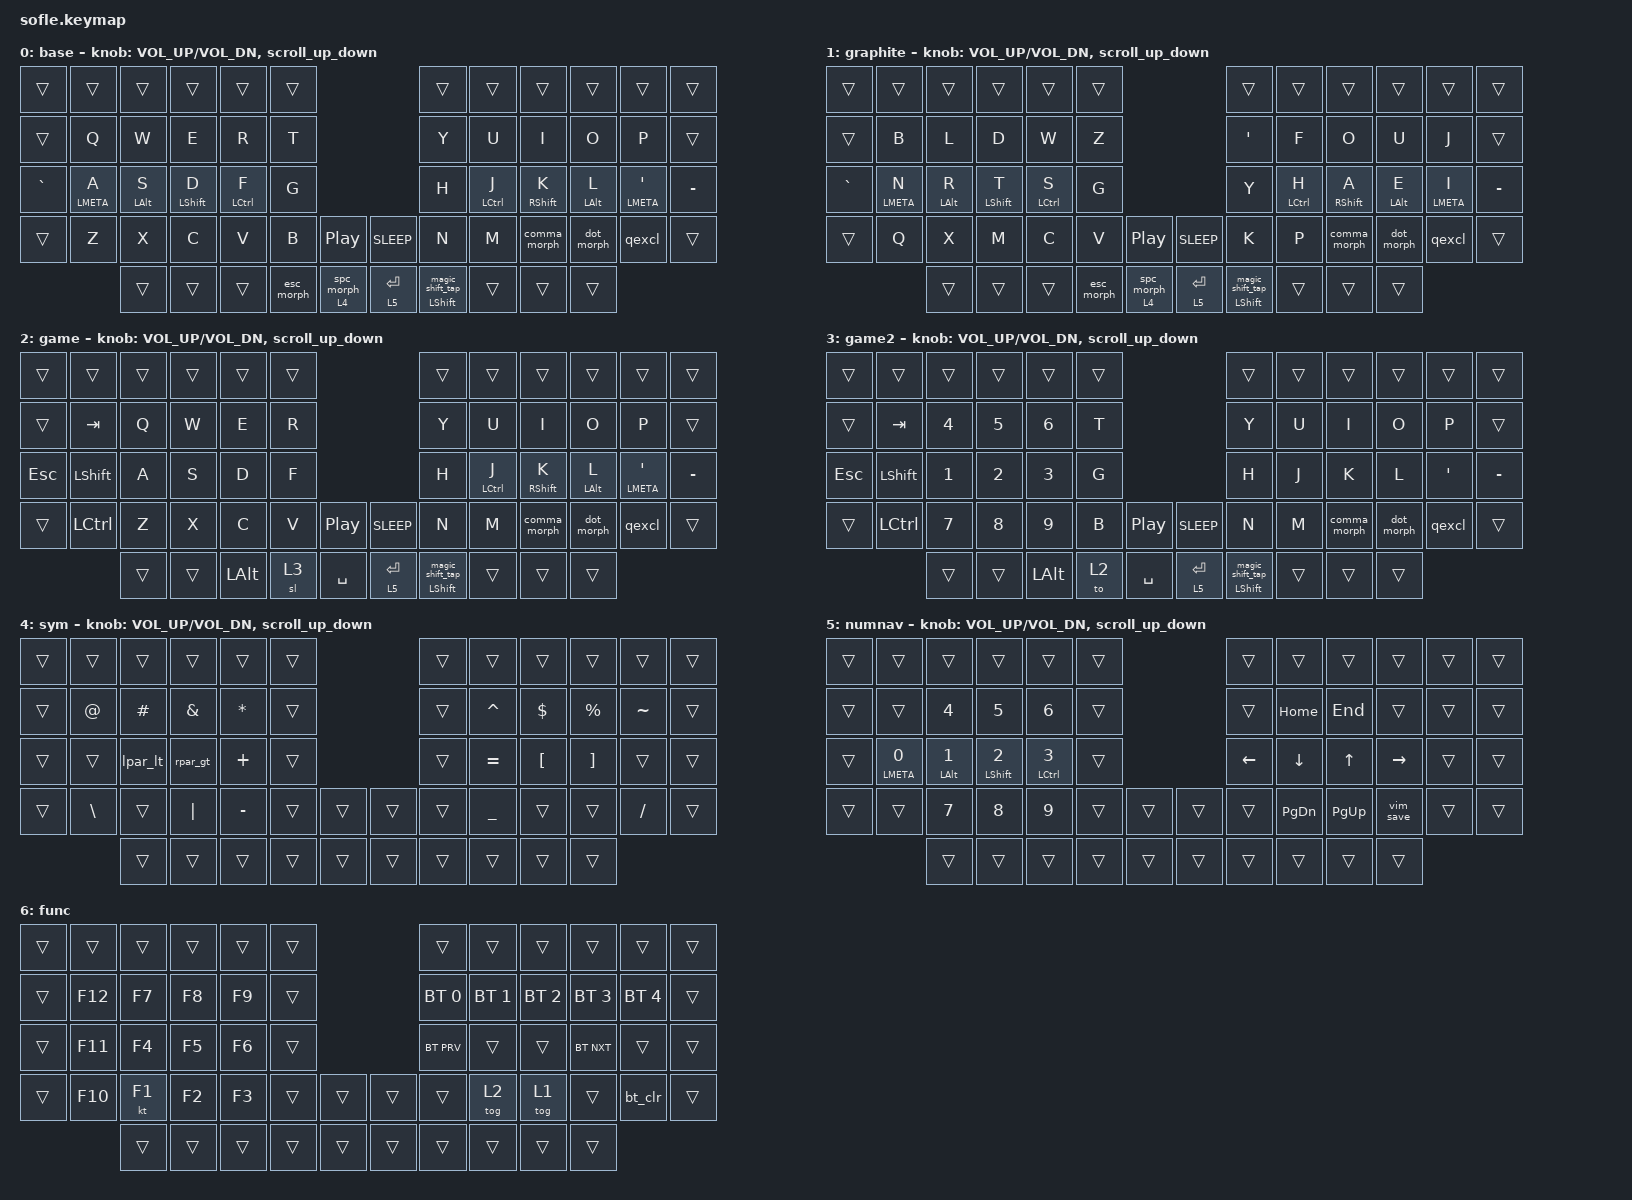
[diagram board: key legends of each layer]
// Editor: https://nickcoutsos.github.io/keymap-editor/
// Reference: https://github.com/urob/zmk-config

#define ZMK_POINTING_DEFAULT_SCRL_VAL 100

#include <behaviors.dtsi>
#include <dt-bindings/zmk/bt.h>
#include <dt-bindings/zmk/keys.h>
#include <dt-bindings/zmk/pointing.h>

/* Global defaults */

&sk {
    release-after-ms = <900>;
    quick-release;
};

&sl { ignore-modifiers; };

&lt {
    flavor = "balanced";
    tapping-term-ms = <200>;
    quick-tap-ms = <175>;
};

/* Home Row Mods */
// Hack: Make HRM combos tap-only (cf, ZMK issue #544).

#define ZMK_COMBO_8(NAME, TAP, POS, LAYERS, COMBO_MS, IDLE_MS, HOLD, SIDE)     \
  MAKE_HRM(hm_combo_##NAME, &kp, TAP, SIDE THUMBS)                             \
  ZMK_COMBO_6(NAME, &hm_combo_##NAME HOLD 0, POS, LAYERS, COMBO_MS, IDLE_MS)

/* Encoders */

&left_encoder { steps = <60>; };

&right_encoder { steps = <60>; };

&sensors { triggers-per-rotation = <30>; };

/* Keymap */

/ {
    behaviors {
        scroll_up_down: behavior_sensor_rotate_mouse_wheel_up_down {
            compatible = "zmk,behavior-sensor-rotate";
            #sensor-binding-cells = <0>;
            bindings = <&msc SCRL_UP>, <&msc SCRL_DOWN>;

            tap-ms = <20>;
        };

        /* Home Row Mods */

        hrm_l: hrm_l {
            compatible = "zmk,behavior-hold-tap";
            label = "HRM_L";
            bindings = <&kp>, <&kp>;

            #binding-cells = <2>;
            tapping-term-ms = <280>;
            quick-tap-ms = <175>;
            flavor = "balanced";
            hold-trigger-on-release;
            require-prior-idle-ms = <150>;
            hold-trigger-key-positions = <53 54 55 56 44 30 18 45 31 19 20 32 46 47 33 21 48 34 22 57 52>;
        };

        hrm_r: hrm_r {
            compatible = "zmk,behavior-hold-tap";
            label = "HRM_R";
            bindings = <&kp>, <&kp>;

            #binding-cells = <2>;
            tapping-term-ms = <280>;
            quick-tap-ms = <175>;
            flavor = "balanced";
            hold-trigger-on-release;
            require-prior-idle-ms = <150>;
            hold-trigger-key-positions = <54 53 55 56 57 41 29 17 40 28 16 39 27 15 38 26 14 37 25 13 52>;
        };

        // Tap: comma | Shift + tap: semicolon | Ctrl + shift + tap: <.

        comma_morph: comma_morph {
            compatible = "zmk,behavior-mod-morph";
            label = "COMMA_MORPH";
            bindings = <&kp COMMA>, <&comma_inner_morph>;

            #binding-cells = <0>;
            mods = <(MOD_LSFT|MOD_RSFT)>;
        };

        comma_inner_morph: comma_inner_morph {
            compatible = "zmk,behavior-mod-morph";
            label = "COMMA_INNER_MORPH";
            bindings = <&kp SEMI>, <&kp LT>;

            #binding-cells = <0>;
            mods = <(MOD_LCTL|MOD_RCTL)>;
        };

        // Tap: dot | Shift + tap: colon | Ctrl + shift + tap: >.

        dot_morph: dot_morph {
            compatible = "zmk,behavior-mod-morph";
            label = "DOT_MORPH";
            bindings = <&kp DOT>, <&dot_inner_morph>;

            #binding-cells = <0>;
            mods = <(MOD_LSFT|MOD_RSFT)>;
        };

        dot_inner_morph: dot_inner_morph {
            compatible = "zmk,behavior-mod-morph";
            label = "DOT_INNER_MORPH";
            bindings = <&kp COLON>, <&kp GT>;

            #binding-cells = <0>;
            mods = <(MOD_LCTL|MOD_RCTL)>;
        };

        // Tap: qmark | Shift + tap: excl.

        qexcl: qexcl {
            compatible = "zmk,behavior-mod-morph";
            label = "QEXCL";
            bindings = <&kp QMARK>, <&kp EXCL>;

            #binding-cells = <0>;
            mods = <(MOD_LSFT|MOD_RSFT)>;
        };

        // Tap: left/right parenthesis | Shft + tap: less-than/greater-than.

        lpar_lt: lpar_lt {
            compatible = "zmk,behavior-mod-morph";
            label = "LPAR_LT";
            bindings = <&kp LPAR>, <&kp LT>;

            #binding-cells = <0>;
            mods = <(MOD_LSFT|MOD_RSFT)>;
        };

        rpar_gt: rpar_gt {
            compatible = "zmk,behavior-mod-morph";
            label = "RPAR_GT";
            bindings = <&kp RPAR>, <&kp GT>;

            #binding-cells = <0>;
            mods = <(MOD_LSFT|MOD_RSFT)>;
        };

        // Tap: esc | Shift + tap: bspc | Ctrl + shift + tap: del.

        esc_morph: esc_morph {
            compatible = "zmk,behavior-mod-morph";
            label = "ESC_MORPH";
            bindings = <&kp ESC>, <&esc_inner_morph>;

            #binding-cells = <0>;
            mods = <(MOD_LSFT|MOD_RSFT)>;
        };

        esc_inner_morph: esc_inner_morph {
            compatible = "zmk,behavior-mod-morph";
            label = "ESC_INNER_MORPH";
            bindings = <&kp BSPC>, <&kp DEL>;

            #binding-cells = <0>;
            mods = <(MOD_LCTL|MOD_RCTL)>;
            keep-mods = <(MOD_RSFT)>;
        };

        // Tap: space | Shift + tap: tab | Hold: nav layer.

        spc_morph: spc_morph {
            compatible = "zmk,behavior-mod-morph";
            label = "SPC_MORPH";
            bindings = <&kp SPACE>, <&kp TAB>;

            #binding-cells = <0>;
            mods = <(MOD_LSFT|MOD_RSFT)>;
            keep-mods = <(MOD_RSFT)>;
        };

        lt_spc: lt_spc {
            compatible = "zmk,behavior-hold-tap";
            label = "LT_SPC";
            bindings = <&mo>, <&spc_morph>;

            #binding-cells = <2>;
            tapping-term-ms = <200>;
            quick-tap-ms = <175>;
            flavor = "balanced";
        };

        // Tap: BT_CLR | Shift + tap: BT_CLR_ALL.

        bt_clr: bt_clr {
            compatible = "zmk,behavior-mod-morph";
            label = "BT_CLR";
            bindings = <&bt BT_CLR>, <&bt BT_CLR_ALL>;

            #binding-cells = <0>;
            mods = <(MOD_LSFT|MOD_RSFT)>;
        };

        // Tap: sticky-shift | Shift + tap: caps_word | Hold: shift.

        magic_shift: magic_shift {
            compatible = "zmk,behavior-hold-tap";
            label = "MAGIC_SHIFT";
            bindings = <&kp>, <&magic_shift_tap>;

            #binding-cells = <2>;
            tapping-term-ms = <200>;
            quick-tap-ms = <175>;
            flavor = "balanced";
        };

        magic_shift_tap: magic_shift_tap {
            compatible = "zmk,behavior-mod-morph";
            label = "MAGIC_SHIFT_TAP";
            bindings = <&sk LSHFT>, <&caps_word>;

            #binding-cells = <0>;
            mods = <(MOD_LSFT|MOD_RSFT)>;
        };
    };

    conditional_layers {
        compatible = "zmk,conditional-layers";

        adjust_layer {
            if-layers = <4 5>;
            then-layer = <6>;
        };
    };

    combos {
        compatible = "zmk,combos";

        copy {
            bindings = <&kp LG(C)>;
            key-positions = <38 39>;
            timeout-ms = <18>;
            require-prior-idle-ms = <150>;
        };

        paste {
            bindings = <&kp LG(V)>;
            key-positions = <39 40>;
            timeout-ms = <18>;
            require-prior-idle-ms = <150>;
        };
    };

    macros {
        vim_save: vim_save {
            compatible = "zmk,behavior-macro";
            #binding-cells = <0>;
            bindings = <&kp ESC &kp COLON &kp W &kp A &kp ENTER>;
            label = "VIM_SAVE";
        };
    };

    keymap {
        compatible = "zmk,keymap";

        base_layer {
            display-name = "base";
            bindings = <
&trans     &trans          &trans         &trans          &trans          &trans                                  &trans                &trans          &trans          &trans         &trans            &trans
&trans     &kp Q           &kp W          &kp E           &kp R           &kp T                                   &kp Y                 &kp U           &kp I           &kp O          &kp P             &trans
&kp GRAVE  &hrm_l LMETA A  &hrm_l LALT S  &hrm_l LSHFT D  &hrm_l LCTRL F  &kp G                                   &kp H                 &hrm_r LCTRL J  &hrm_r RSHFT K  &hrm_r LALT L  &hrm_r LMETA SQT  &kp MINUS
&trans     &kp Z           &kp X          &kp C           &kp V           &kp B       &kp C_PP       &kp C_SLEEP  &kp N                 &kp M           &comma_morph    &dot_morph     &qexcl            &trans
                           &trans         &trans          &trans          &esc_morph  &lt_spc 4 0    &lt 5 ENTER  &magic_shift LSHFT 0  &trans          &trans          &trans
            >;

            sensor-bindings =
                <&inc_dec_kp C_VOL_UP C_VOL_DN>,
                <&scroll_up_down>;
        };

        graphite_layer {
            display-name = "graphite";
            bindings = <
&trans     &trans          &trans         &trans          &trans          &trans                                  &trans                &trans          &trans          &trans         &trans          &trans
&trans     &kp B           &kp L          &kp D           &kp W           &kp Z                                   &kp SQT               &kp F           &kp O           &kp U          &kp J           &trans
&kp GRAVE  &hrm_l LMETA N  &hrm_l LALT R  &hrm_l LSHFT T  &hrm_l LCTRL S  &kp G                                   &kp Y                 &hrm_r LCTRL H  &hrm_r RSHFT A  &hrm_r LALT E  &hrm_r LMETA I  &kp MINUS
&trans     &kp Q           &kp X          &kp M           &kp C           &kp V       &kp C_PP       &kp C_SLEEP  &kp K                 &kp P           &comma_morph    &dot_morph     &qexcl          &trans
                           &trans         &trans          &trans          &esc_morph  &lt_spc 4 0    &lt 5 ENTER  &magic_shift LSHFT 0  &trans          &trans          &trans
            >;

            sensor-bindings =
                <&inc_dec_kp C_VOL_UP C_VOL_DN>,
                <&scroll_up_down>;
        };

        gaming_layer {
            display-name = "game";
            bindings = <
&trans   &trans     &trans  &trans  &trans    &trans                            &trans                &trans          &trans          &trans         &trans             &trans
&trans   &kp TAB    &kp Q   &kp W   &kp E     &kp R                             &kp Y                 &kp U           &kp I           &kp O          &kp P              &trans
&kp ESC  &kp LSHFT  &kp A   &kp S   &kp D     &kp F                             &kp H                 &hrm_r LCTRL J  &hrm_r RSHFT K  &hrm_r LALT L  &hrm_r LMETA APOS  &kp MINUS
&trans   &kp LCTRL  &kp Z   &kp X   &kp C     &kp V   &kp C_PP     &kp C_SLEEP  &kp N                 &kp M           &comma_morph    &dot_morph     &qexcl             &trans
                    &trans  &trans  &kp LALT  &sl 3   &kp SPACE    &lt 5 ENTER  &magic_shift LSHFT 0  &trans          &trans          &trans
            >;

            sensor-bindings =
                <&inc_dec_kp C_VOL_UP C_VOL_DN>,
                <&scroll_up_down>;
        };

        gaming2_layer {
            display-name = "game2";
            bindings = <
&trans   &trans     &trans  &trans  &trans    &trans                            &trans                &trans  &trans        &trans      &trans    &trans
&trans   &kp TAB    &kp N4  &kp N5  &kp N6    &kp T                             &kp Y                 &kp U   &kp I         &kp O       &kp P     &trans
&kp ESC  &kp LSHFT  &kp N1  &kp N2  &kp N3    &kp G                             &kp H                 &kp J   &kp K         &kp L       &kp APOS  &kp MINUS
&trans   &kp LCTRL  &kp N7  &kp N8  &kp N9    &kp B   &kp C_PP     &kp C_SLEEP  &kp N                 &kp M   &comma_morph  &dot_morph  &qexcl    &trans
                    &trans  &trans  &kp LALT  &to 2   &kp SPACE    &lt 5 ENTER  &magic_shift LSHFT 0  &trans  &trans        &trans
            >;

            sensor-bindings =
                <&inc_dec_kp C_VOL_UP C_VOL_DN>,
                <&scroll_up_down>;
        };

        symbol_layer {
            display-name = "sym";
            bindings = <
&trans  &trans    &trans    &trans    &trans     &trans                    &trans  &trans     &trans    &trans     &trans     &trans
&trans  &kp AT    &kp HASH  &kp AMPS  &kp STAR   &trans                    &trans  &kp CARET  &kp DLLR  &kp PRCNT  &kp TILDE  &trans
&trans  &trans    &lpar_lt  &rpar_gt  &kp PLUS   &trans                    &trans  &kp EQUAL  &kp LBKT  &kp RBKT   &trans     &trans
&trans  &kp BSLH  &trans    &kp PIPE  &kp MINUS  &trans  &trans    &trans  &trans  &kp UNDER  &trans    &trans     &kp FSLH   &trans
                  &trans    &trans    &trans     &trans  &trans    &trans  &trans  &trans     &trans    &trans
            >;

            sensor-bindings =
                <&inc_dec_kp C_VOL_UP C_VOL_DN>,
                <&scroll_up_down>;
        };

        num_nav_layer {
            display-name = "numnav";
            bindings = <
&trans  &trans           &trans          &trans           &trans           &trans                    &trans    &trans     &trans     &trans     &trans  &trans
&trans  &trans           &kp N4          &kp N5           &kp N6           &trans                    &trans    &kp HOME   &kp END    &trans     &trans  &trans
&trans  &hrm_l LMETA N0  &hrm_l LALT N1  &hrm_l LSHFT N2  &hrm_l LCTRL N3  &trans                    &kp LEFT  &kp DOWN   &kp UP     &kp RIGHT  &trans  &trans
&trans  &trans           &kp N7          &kp N8           &kp N9           &trans  &trans    &trans  &trans    &kp PG_DN  &kp PG_UP  &vim_save  &trans  &trans
                         &trans          &trans           &trans           &trans  &trans    &trans  &trans    &trans     &trans     &trans
            >;

            sensor-bindings =
                <&inc_dec_kp C_VOL_UP C_VOL_DN>,
                <&scroll_up_down>;
        };

        function_layer {
            display-name = "func";
            bindings = <
&trans  &trans   &trans  &trans  &trans  &trans                    &trans        &trans        &trans        &trans        &trans        &trans
&trans  &kp F12  &kp F7  &kp F8  &kp F9  &trans                    &bt BT_SEL 0  &bt BT_SEL 1  &bt BT_SEL 2  &bt BT_SEL 3  &bt BT_SEL 4  &trans
&trans  &kp F11  &kp F4  &kp F5  &kp F6  &trans                    &bt BT_PRV    &trans        &trans        &bt BT_NXT    &trans        &trans
&trans  &kp F10  &kt F1  &kp F2  &kp F3  &trans  &trans    &trans  &trans        &tog 2        &tog 1        &trans        &bt_clr       &trans
                 &trans  &trans  &trans  &trans  &trans    &trans  &trans        &trans        &trans        &trans
            >;
        };
    };
};
